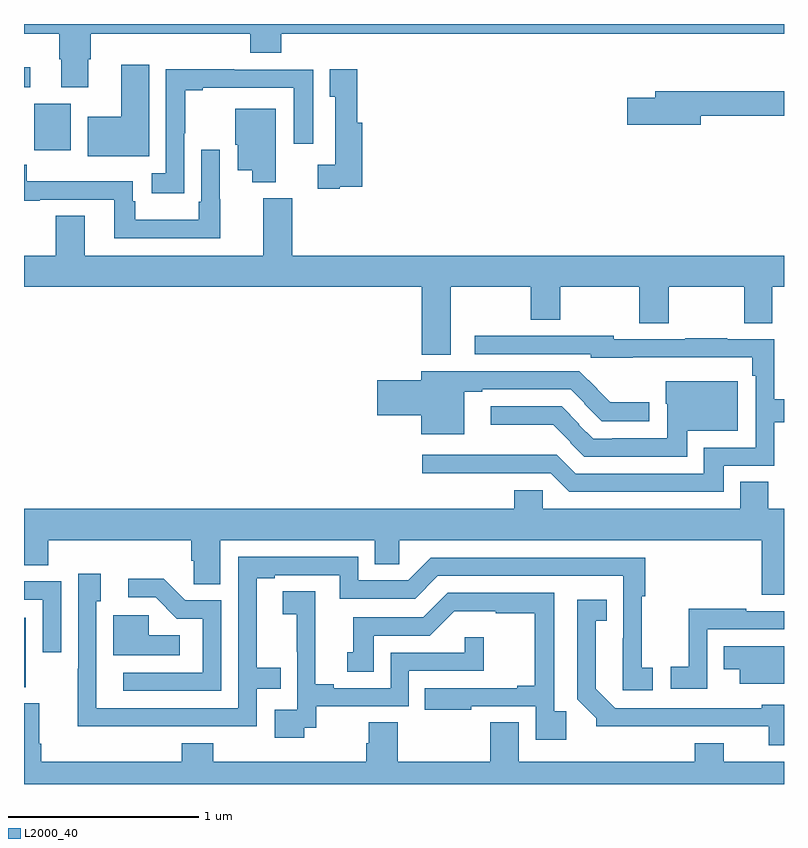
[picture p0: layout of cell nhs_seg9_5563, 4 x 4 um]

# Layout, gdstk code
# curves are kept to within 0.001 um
import gdstk
lib = gdstk.Library(unit=1e-6, precision=1e-09)
def R(c, l, rs):  # rectangles x0, y0, x1, y1
    for r in rs: c.add(gdstk.rectangle(r[:2], r[2:], *l))
def P(c, l, *ps):  # polygons
    for p in ps: c.add(gdstk.Polygon(p, *l))
L2000_40 = (2000, 40)

nhs_seg9_5563 = lib.new_cell('nhs_seg9_5563')
R(nhs_seg9_5563, L2000_40, [(435,1165.009,435.01,1165.375), (435.053,1167.836,435.247,1168.081), (435,1168.167,435.034,1168.273)])
P(nhs_seg9_5563, L2000_40, [(435.337,1168.314),(435.35,1168.314),(435.35,1168.448),(436.19,1168.448),(436.19,1168.349),(436.355,1168.349),(436.355,1168.448),(439,1168.448),(439,1168.5),(435,1168.5),(435,1168.448),(435.185,1168.448),(435.185,1168.314),(435.197,1168.314),(435.197,1168.166),(435.337,1168.166)],
  [(435.658,1168.285),(435.512,1168.285),(435.512,1168.012),(435.335,1168.012),(435.335,1167.803),(435.658,1167.803)],
  [(435.843,1167.925),(435.848,1167.925),(435.848,1168.152),(435.94,1168.152),(435.94,1168.164),(436.421,1168.164),(436.421,1167.87),(436.522,1167.87),(436.522,1168.26),(436.106,1168.26),(436.106,1168.262),(435.747,1168.262),(435.747,1167.714),(435.672,1167.714),(435.672,1167.609),(435.843,1167.609)],
  [(436.661,1167.644),(436.781,1167.644),(436.781,1167.979),(436.754,1167.979),(436.754,1168.261),(436.61,1168.261),(436.61,1168.116),(436.638,1168.116),(436.638,1167.758),(436.545,1167.758),(436.545,1167.634),(436.661,1167.634)],
  [(438.562,1168.018),(439,1168.018),(439,1168.147),(438.323,1168.147),(438.323,1168.113),(438.174,1168.113),(438.174,1167.971),(438.562,1167.971)],
  [(436.324,1168.054),(436.112,1168.054),(436.112,1167.864),(436.124,1167.864),(436.124,1167.731),(436.202,1167.731),(436.202,1167.668),(436.324,1167.668)],
  [(436.032,1167.578),(436.029,1167.578),(436.029,1167.838),(435.933,1167.838),(435.933,1167.565),(435.921,1167.565),(435.921,1167.469),(435.586,1167.469),(435.586,1167.567),(435.573,1167.567),(435.573,1167.673),(435.014,1167.673),(435.014,1167.76),(435,1167.76),(435,1167.571),(435.083,1167.571),(435.083,1167.576),(435.476,1167.576),(435.476,1167.372),(436.032,1167.372)],
  [(437.093,1166.759),(437.245,1166.759),(437.245,1167.116),(437.668,1167.116),(437.668,1166.944),(437.823,1166.944),(437.823,1167.116),(438.238,1167.116),(438.238,1166.926),(438.393,1166.926),(438.393,1167.116),(438.79,1167.116),(438.79,1166.926),(438.937,1166.926),(438.937,1167.116),(439,1167.116),(439,1167.28),(436.412,1167.28),(436.412,1167.583),(436.259,1167.583),(436.259,1167.28),(435.319,1167.28),(435.319,1167.491),(435.167,1167.491),(435.167,1167.28),(435,1167.28),(435,1167.116),(437.093,1167.116)],
  [(438.682,1166.175),(438.948,1166.175),(438.948,1166.403),(439,1166.403),(439,1166.524),(438.949,1166.524),(438.949,1166.841),(438.701,1166.841),(438.701,1166.846),(438.481,1166.846),(438.481,1166.841),(438.105,1166.841),(438.105,1166.859),(437.373,1166.859),(437.373,1166.763),(437.982,1166.763),(437.982,1166.744),(438.833,1166.745),(438.833,1166.648),(438.852,1166.648),(438.852,1166.271),(438.578,1166.271),(438.578,1166.133),(437.904,1166.133),(437.805,1166.232),(437.097,1166.232),(437.097,1166.135),(437.772,1166.136),(437.871,1166.037),(438.682,1166.037)],
  [(437.317,1166.565),(437.413,1166.565),(437.413,1166.577),(437.877,1166.577),(437.95,1166.504),(437.948,1166.502),(438.041,1166.409),(438.292,1166.409),(438.292,1166.508),(438.086,1166.508),(437.923,1166.673),(437.09,1166.673),(437.09,1166.624),(436.86,1166.624),(436.86,1166.441),(437.09,1166.441),(437.09,1166.342),(437.317,1166.342)],
  [(438.49,1166.36),(438.757,1166.36),(438.757,1166.62),(438.377,1166.62),(438.377,1166.502),(438.386,1166.502),(438.386,1166.319),(438.097,1166.319),(438.097,1166.316),(437.997,1166.316),(437.921,1166.392),(437.923,1166.394),(437.83,1166.487),(437.457,1166.487),(437.457,1166.39),(437.785,1166.39),(437.877,1166.298),(437.875,1166.296),(437.948,1166.223),(438.49,1166.223)],
  [(439,1165.948),(438.918,1165.948),(438.918,1166.09),(438.77,1166.09),(438.77,1165.948),(437.73,1165.948),(437.73,1166.046),(437.579,1166.046),(437.579,1165.948),(435,1165.948),(435,1165.651),(435.128,1165.651),(435.128,1165.784),(435.881,1165.784),(435.881,1165.675),(435.894,1165.675),(435.894,1165.552),(436.033,1165.552),(436.033,1165.784),(436.847,1165.784),(436.847,1165.657),(436.974,1165.657),(436.974,1165.784),(438.884,1165.784),(438.884,1165.495),(439,1165.495)],
  [(435.746,1164.804),(436.224,1164.804),(436.224,1165.002),(436.352,1165.002),(436.352,1165.111),(436.225,1165.111),(436.225,1165.584),(436.321,1165.584),(436.321,1165.599),(436.662,1165.599),(436.662,1165.476),(437.058,1165.476),(437.178,1165.596),(438.153,1165.596),(438.152,1164.993),(438.31,1164.993),(438.31,1165.113),(438.252,1165.113),(438.252,1165.489),(438.269,1165.489),(438.269,1165.692),(437.142,1165.692),(437.022,1165.572),(436.758,1165.572),(436.758,1165.695),(436.128,1165.695),(436.128,1164.9),(435.381,1164.9),(435.381,1165.461),(435.403,1165.461),(435.403,1165.606),(435.285,1165.606),(435.284,1164.803)],
  [(436.038,1165.467),(435.849,1165.467),(435.736,1165.58),(435.549,1165.58),(435.549,1165.482),(435.693,1165.482),(435.804,1165.371),(435.942,1165.371),(435.942,1165.086),(435.522,1165.086),(435.522,1164.99),(436.038,1164.99)],
  [(435.195,1165.566),(435,1165.566),(435,1165.47),(435.099,1165.47),(435.099,1165.194),(435.195,1165.194)],
  [(436.476,1164.795),(436.538,1164.795),(436.538,1164.909),(437.025,1164.909),(437.025,1165.095),(437.42,1165.095),(437.42,1165.273),(437.319,1165.273),(437.319,1165.191),(436.929,1165.191),(436.929,1165.005),(436.63,1165.005),(436.63,1165.025),(436.534,1165.025),(436.534,1165.403),(436.532,1165.403),(436.532,1165.514),(436.362,1165.514),(436.362,1165.393),(436.436,1165.393),(436.436,1165.195),(436.437,1165.195),(436.437,1164.891),(436.32,1164.891),(436.32,1164.744),(436.476,1164.744)],
  [(437.855,1164.883),(437.79,1164.883),(437.79,1165.506),(437.229,1165.506),(437.1,1165.377),(436.733,1165.377),(436.733,1165.194),(436.7,1165.194),(436.7,1165.09),(436.84,1165.09),(436.84,1165.281),(437.136,1165.281),(437.264,1165.409),(437.483,1165.409),(437.483,1165.398),(437.689,1165.398),(437.689,1165.018),(437.597,1165.018),(437.597,1165.005),(437.11,1165.005),(437.11,1164.89),(437.353,1164.89),(437.353,1164.909),(437.694,1164.909),(437.694,1164.732),(437.855,1164.732)],
  [(439,1164.916),(438.882,1164.916),(438.882,1164.9),(438.111,1164.9),(438.01,1165.001),(438.01,1165.358),(438.068,1165.358),(438.068,1165.471),(437.913,1165.471),(437.913,1164.946),(438.012,1164.847),(438.012,1164.803),(438.919,1164.804),(438.919,1164.705),(439,1164.705)],
  [(438.597,1165.314),(439,1165.314),(439,1165.41),(438.8,1165.41),(438.8,1165.423),(438.499,1165.423),(438.499,1165.118),(438.405,1165.118),(438.405,1165.002),(438.597,1165.002)],
  [(435.82,1165.282),(435.657,1165.282),(435.657,1165.389),(435.47,1165.389),(435.47,1165.178),(435.82,1165.178)],
  [(439,1165.225),(438.682,1165.225),(438.682,1165.103),(438.767,1165.103),(438.767,1165.028),(439,1165.028)],
  [(439,1164.616),(438.682,1164.616),(438.682,1164.715),(438.53,1164.715),(438.53,1164.616),(437.605,1164.616),(437.605,1164.824),(437.453,1164.824),(437.453,1164.616),(436.967,1164.616),(436.967,1164.824),(436.814,1164.824),(436.814,1164.714),(436.802,1164.714),(436.802,1164.616),(435.995,1164.616),(435.995,1164.715),(435.83,1164.715),(435.83,1164.616),(435.092,1164.616),(435.092,1164.712),(435.079,1164.712),(435.079,1164.924),(435,1164.924),(435,1164.5),(439,1164.5)])

lib.write_gds('nhs_seg9_5563.gds')
